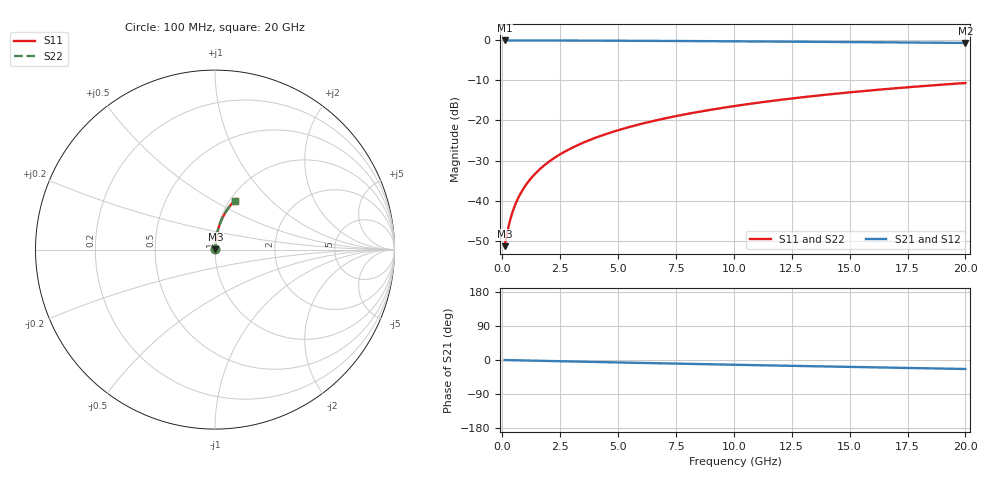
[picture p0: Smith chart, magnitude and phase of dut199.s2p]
! Touchstone file exported from HFSS 2024.1.0
!  File:  C:/UserFiles/LocalFiles/RDL_TSV_Batchsim/temp_RDL_top_199_1778686917.aedt
!  Generated:  11:44:08 PM May 13, 2026
!  Design:  RDL_top
!  Project:  temp_RDL_top_199_1778686917
!  Setup:  Setup1
!  Solution:  Sweep
! Variables:
!  dtsv = 10.80580581um
!  hbump = 3um
!  htsv = 64.48um
!  ldown = 100um
!  lrdl = 280.14um
!  p = 40
!  p1 = 45.79um
!  rhole = 1um
!  t = 450um
!  tdown = 3.915915916um
!  trdl = 3.92um
!  wdown = 15.38538539um
!  wrdl = 12.19um
# GHz S MA R 50.000000
! Terminal data exported
! Port[1] = Box2_T1
! Port[2] = Box2_T2
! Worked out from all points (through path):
!   200 points, 100 MHz to 20 GHz, reference 50 ohm
!   highest |S21| = -0.02 dB at 100 MHz (marker M1); lowest = -0.6 dB at 20 GHz (marker M2)
!   group delay of S21, straight-line fit = 3.28 ps
!   lowest |S11| = -51.4 dB at 100 MHz (marker M3), VSWR 1.01, Z = 50.2 + j0.157 ohm
!   |S11| at or under -10 dB: start of sweep to end of sweep
!   |S22| runs from -51.4 to -10.6 dB; largest |S21 - S12| = 4.9e-15
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0.1  0.002693 35.5  0.9978 -0.1  0.9978 -0.1  0.002693 35.5
! Gamma 0 0 0 0
! Port Impedance 50 0 50 0
0.2  0.003829 54.3  0.9978 -0.3  0.9978 -0.3  0.003829 54.3
0.3  0.005167 63.7  0.9977 -0.4  0.9977 -0.4  0.005167 63.7
0.4  0.006575 69.2  0.9976 -0.5  0.9976 -0.5  0.006575 69.2
0.5  0.008013 72.7  0.9976 -0.7  0.9976 -0.7  0.008013 72.7
0.6  0.00947 75.1  0.9975 -0.8  0.9975 -0.8  0.009469 75.1
0.8  0.01241 78.2  0.9974 -1.1  0.9974 -1.1  0.01241 78.2
1.1  0.01687 80.7  0.9971 -1.5  0.9971 -1.5  0.01687 80.7
1.5  0.02284 82.4  0.9968 -2.0  0.9968 -2.0  0.02284 82.4
1.8  0.02733 83.1  0.9965 -2.4  0.9965 -2.4  0.02733 83.1
2.1  0.03183 83.5  0.9961 -2.8  0.9961 -2.8  0.03183 83.5
2.7  0.04084 83.9  0.9952 -3.5  0.9952 -3.5  0.04084 83.9
3.5  0.05287 83.9  0.9937 -4.6  0.9937 -4.6  0.05287 83.9
4.2  0.06343 83.7  0.9922 -5.5  0.9922 -5.5  0.06343 83.7
5  0.0755 83.2  0.9902 -6.5  0.9902 -6.5  0.0755 83.2
5.9  0.08911 82.6  0.9877 -7.6  0.9877 -7.6  0.08911 82.6
6.8  0.1027 81.9  0.9849 -8.7  0.9849 -8.7  0.1027 81.9
8.3  0.1254 80.5  0.9798 -10.5  0.9798 -10.5  0.1254 80.5
10.1  0.1525 78.8  0.9732 -12.7  0.9732 -12.7  0.1525 78.8
13.4  0.2013 75.3  0.9598 -16.5  0.9598 -16.5  0.2013 75.3
16.7  0.2485 71.8  0.9452 -20.1  0.9452 -20.1  0.2485 71.8
20  0.2935 68.2  0.9294 -23.7  0.9294 -23.7  0.2935 68.3
